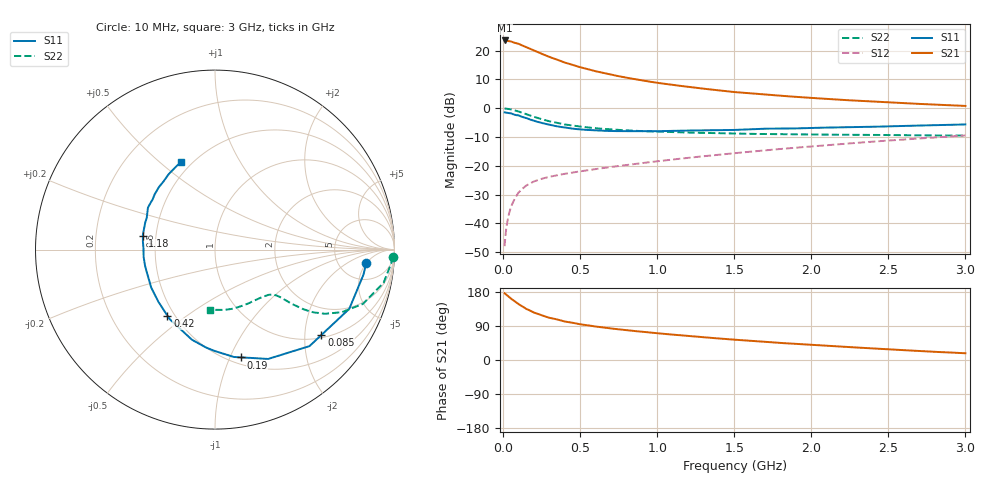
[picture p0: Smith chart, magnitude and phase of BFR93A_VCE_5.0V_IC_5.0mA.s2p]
! Infineon Technologies  Discrete & RF Semiconductors
! BFR93A
! VCE =  5.0 V,  IC =  5.0 mA
! Common Emitter S-Parameters:  Nov 2015
# GHz  S  MA  R  50
!  f  S11  S21  S12  S22
! GHz  MAG  ANG  MAG  ANG  MAG  ANG  MAG  ANG
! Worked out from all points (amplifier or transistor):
!   180 points, 10 MHz to 3 GHz, reference 50 ohm
!   highest |S21| = 23.6 dB at 10 MHz (marker M1)
!   |S21| within 3 dB of that: start of sweep to 179.8 MHz
!   unconditionally stable (mu >= 1): 758.4 MHz to 2.599 GHz
!   at 160 MHz: K = 0.33, MSG = 23.8 dB, |S12| = -26.6 dB
!   at 1.22 GHz: K = 1.11, MAG = 10.2 dB, |S12| = -17.1 dB
!   at 3 GHz: K = 0.95, MSG = 5.1 dB, |S12| = -9.5 dB
!   S11 on the Smith chart (normalised r, x): 10 MHz: 10, -5; 85 MHz: 1.08, -2.43; 190 MHz: 0.57, -1.10; 420 MHz: 0.46, -0.42; 1.18 GHz: 0.42, +0.08; 3 GHz: 0.44, +0.59
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0.01  0.8467 -4.9  15.06 176.1  0.004 88.6  0.9901 -2.3
0.02  0.8388 -9.6  14.99 172.6  0.0079 83.8  0.9844 -4.6
0.05  0.8177 -23.8  14.51 162.2  0.0188 77.8  0.9574 -11.1
0.085  0.76 -38.7  13.49 152.2  0.0294 69.4  0.9 -17.2
0.1  0.7525 -45.6  13.19 147.5  0.0341 67.4  0.8788 -20.1
0.15  0.6773 -64.1  11.58 134.9  0.0452 60.4  0.7879 -26.3
0.19  0.6174 -76.6  10.38 127.4  0.0517 56.7  0.7244 -29.4
0.2  0.6075 -80.0  10.11 125.3  0.0533 55.9  0.7089 -30.3
0.24  0.5639 -90.5  9.083 119.2  0.0581 53.4  0.6567 -32.3
0.3  0.5186 -104.3  7.806 111.4  0.0642 51.3  0.5938 -34.0
0.4  0.4628 -123.0  6.226 101.6  0.0724 50.2  0.5223 -35.3
0.42  0.4538 -125.7  6.007 100.3  0.0739 50.3  0.5135 -35.4
0.52  0.4243 -139.8  5.008 93.2  0.0814 50.8  0.4722 -35.8
0.6  0.4137 -149.2  4.401 88.3  0.0875 51.6  0.448 -36.1
0.7  0.4016 -158.9  3.826 83.1  0.0952 52.9  0.4277 -36.7
0.9  0.3997 -174.3  3.044 74.5  0.111 55.0  0.4001 -38.7
1.02  0.3992 178.2  2.719 69.8  0.1213 55.8  0.3907 -40.2
1.18  0.4086 169.5  2.393 64.1  0.1355 56.9  0.3788 -43.0
1.52  0.4212 154.4  1.893 53.1  0.1672 57.9  0.3621 -49.9
2.02  0.4561 137.4  1.5 39.5  0.2188 56.9  0.3485 -62.8
2.52  0.486 123.6  1.255 27.8  0.2764 53.9  0.3413 -77.8
3  0.523 111.4  1.096 17.8  0.3364 49.6  0.3358 -95.1
